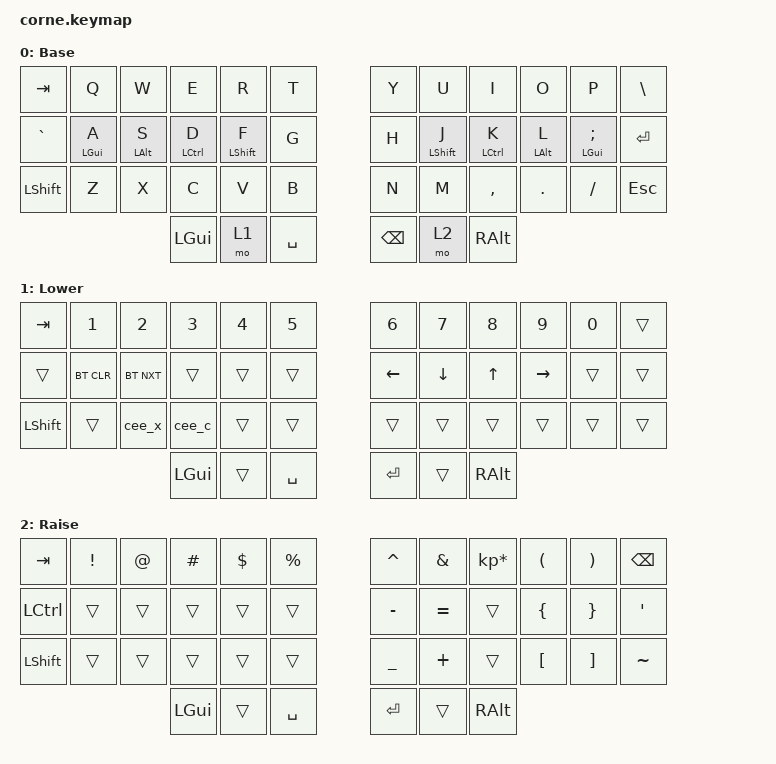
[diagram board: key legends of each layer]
/*
 * Copyright (c) 2020 The ZMK Contributors
 *
 * SPDX-License-Identifier: MIT
 */

#include <behaviors.dtsi>
#include <dt-bindings/zmk/keys.h>
#include <dt-bindings/zmk/bt.h>

/ {
	macros {
               cee_x: cee_x {
               	      label = "cee_x";
	       	      compatible = "zmk,behavior-macro";
               	      #binding-cells = <0>;
               	      bindings
               	      = <&macro_press &kp LCTRL>
               	      , <&macro_tap &kp X>
               	      , <&macro_release &kp LCTRL>
               	      ;
               	      };
		cee_c: cee_c {
               	      label = "cee_c";
	       	      compatible = "zmk,behavior-macro";
               	      #binding-cells = <0>;
               	      bindings
               	      = <&macro_press &kp LCTRL>
               	      , <&macro_tap &kp C>
               	      , <&macro_release &kp LCTRL>
               	      ;
               	      };
        };

	behaviors {
        	 bhm: balanced_homerow_mods {
            	      compatible = "zmk,behavior-hold-tap";
            	      label = "HOMEROW_MODS";
            	      #binding-cells = <2>;
            	      tapping-term-ms = <200>;    // <---[[moderate duration]]
            	      quick-tap-ms = <0>;
            	      flavor = "hold-preferred";
            	      bindings = <&kp>, <&kp>;
        };
    };

        keymap {
                compatible = "zmk,keymap";

                default_layer {
// -----------------------------------------------------------------------------------------
// |  TAB |  Q  |  W  |  E  |  R  |  T  |   |  Y  |  U   |  I  |  O  |  P  |  \   |
// |  `   |  A  |  S  |  D  |  F  |  G  |   |  H  |  J   |  K  |  L  |  ;  |  RET |
// | SHFT |  Z  |  X  |  C  |  V  |  B  |   |  N  |  M   |  ,  |  .  |  /  |  ESC |
//                    | GUI | SPC | LWR |   | BSPC | RSE  | ALT |
                        label = "Base";
                        bindings = <
   &kp TAB   &kp Q       &kp W       &kp E        &kp R        &kp T       &kp Y         &kp U         &kp I           &kp O          &kp P          &kp BSLH
   &kp GRAVE &bhm LGUI A &bhm LALT S &bhm LCTRL D &mt LSHIFT F &kp G       &kp H         &bhm LSHIFT J &bhm LCTRL K    &bhm LALT L    &bhm LGUI SEMI &kp RET
   &kp LSHFT &kp Z       &kp X       &kp C        &kp V        &kp B       &kp N         &kp M         &kp COMMA       &kp DOT        &kp FSLH       &kp ESC
                                     &kp LGUI     &mo 1        &kp SPACE   &kp BSPC      &mo 2         &kp RALT
                        >;
                };
                lower_layer {
// -----------------------------------------------------------------------------------------
// |  TAB |  1  |  2  |  3  |  4  |  5  |   |  6  |  7  |  8  |  9  |  0  | RET  |
// | BTCLR| BT1 | BT2 | BT3 | BT4 | BT5 |   | LFT | DWN |  UP | RGT |     |      |
// | SHFT |     | C-x | C-c |     |     |   |     |     |     |     |     |      |
//                    | GUI |     | SPC |   | BKSP |     | ALT |
                        label = "Lower";
                        bindings = <
   &kp TAB    &kp N1       &kp N2       &kp N3       &kp N4       &kp N5         &kp N6   &kp N7   &kp N8 &kp N9    &kp N0 &trans
   &trans     &bt BT_CLR   &bt BT_NXT   &trans       &trans       &trans         &kp LEFT &kp DOWN &kp UP &kp RIGHT &trans &trans
   &kp LSHFT  &trans       &cee_x       &cee_c       &trans       &trans         &trans   &trans   &trans &trans    &trans &trans
                          	        &kp LGUI     &trans       &kp SPACE      &kp RET  &trans   &kp RALT
                        >;
                };

                raise_layer {
// -----------------------------------------------------------------------------------------
// |  TAB |  !  |  @  |  #  |  $  |  %  |   |  ^  |  &  |  *  |  (  |  )  | RET  |
// | CTRL |     |     |     |     |     |   |  -  |  =  |     |  {  |  }  |  '   |
// | SHFT |     |     |     |     |     |   |  _  |  +  |     |  [  |  ] |  ~   |
//                    | GUI |     | SPC |   | BKSP |     | ALT |
                        label = "Raise";
                        bindings = <
   &kp  TAB  &kp EXCL &kp AT &kp HASH &kp DLLR &kp PRCNT   &kp CARET &kp AMPS  &kp KP_MULTIPLY &kp LPAR &kp RPAR &kp BSPC
   &kp LCTRL &trans   &trans &trans   &trans   &trans      &kp MINUS &kp EQUAL &trans          &kp LBRC &kp RBRC &kp SQT
   &kp LSHFT &trans   &trans &trans   &trans   &trans      &kp UNDER &kp PLUS  &trans          &kp LBKT &kp RBKT &kp TILDE
                    	     &kp LGUI &trans   &kp SPACE   &kp RET   &trans    &kp RALT
                        >;
                };
        };
};
